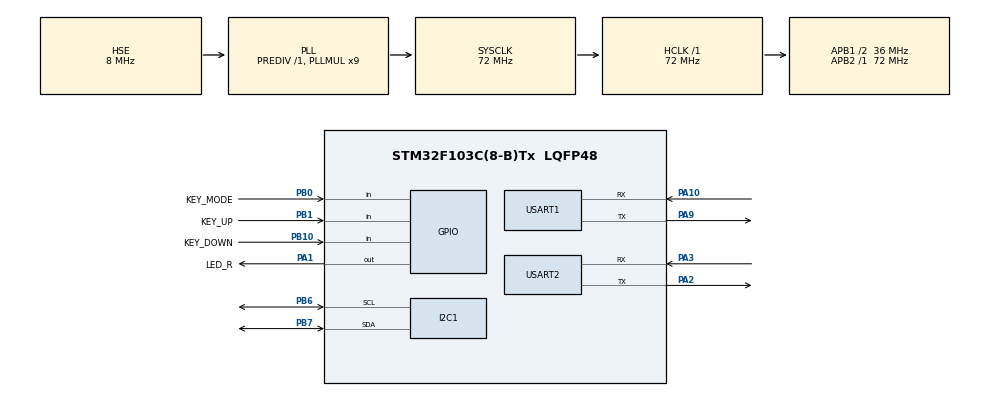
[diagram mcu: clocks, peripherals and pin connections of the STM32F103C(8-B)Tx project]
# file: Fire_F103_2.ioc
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FREERTOS.Tasks01=ledTask,0,256,StartLEDTask,Default,NULL,Dynamic,NULL,NULL;uartTask,-2,128,StartUartTask,Default,NULL,Dynamic,NULL,NULL;sensorTask,1,128,StartSensorTask,Default,NULL,Dynamic,NULL,NULL
IWDG.Prescaler=IWDG_PRESCALER_256
Mcu.Family=STM32F1
Mcu.Name=STM32F103C(8-B)Tx
Mcu.Package=LQFP48
NVIC.PriorityGroup=NVIC_PRIORITYGROUP_4
PA1.GPIO_Label=LED_R
PA1.PinState=GPIO_PIN_SET
PA1.Signal=GPIO_Output
PA10.Mode=Asynchronous
PA10.Signal=USART1_RX
PA13.Mode=Serial_Wire
PA13.Signal=SYS_JTMS-SWDIO
PA14.Mode=Serial_Wire
PA14.Signal=SYS_JTCK-SWCLK
PA2.Mode=Asynchronous
PA2.Signal=USART2_TX
PA3.Mode=Asynchronous
PA3.Signal=USART2_RX
PA9.Mode=Asynchronous
PA9.Signal=USART1_TX
PB0.GPIO_Label=KEY_MODE
PB0.GPIO_PuPd=GPIO_PULLUP
PB0.Signal=GPIO_Input
PB1.GPIO_Label=KEY_UP
PB1.GPIO_PuPd=GPIO_PULLUP
PB1.Signal=GPIO_Input
PB10.GPIO_Label=KEY_DOWN
PB10.GPIO_PuPd=GPIO_PULLUP
PB10.Signal=GPIO_Input
PB6.Mode=I2C
PB6.Signal=I2C1_SCL
PB7.Mode=I2C
PB7.Signal=I2C1_SDA
PC14-OSC32_IN.Mode=LSE-External-Oscillator
PC14-OSC32_IN.Signal=RCC_OSC32_IN
PC15-OSC32_OUT.Mode=LSE-External-Oscillator
PC15-OSC32_OUT.Signal=RCC_OSC32_OUT
PD0-OSC_IN.Mode=HSE-External-Oscillator
PD0-OSC_IN.Signal=RCC_OSC_IN
PD1-OSC_OUT.Mode=HSE-External-Oscillator
PD1-OSC_OUT.Signal=RCC_OSC_OUT
ProjectManager.HeapSize=0x200
ProjectManager.StackSize=0x400
ProjectManager.TargetToolchain=MDK-ARM V5.32
RCC.AHBFreq_Value=72000000
RCC.APB1CLKDivider=RCC_HCLK_DIV2
RCC.APB1Freq_Value=36000000
RCC.APB1TimFreq_Value=72000000
RCC.APB2Freq_Value=72000000
RCC.APB2TimFreq_Value=72000000
RCC.HCLKFreq_Value=72000000
RCC.PLLMUL=RCC_PLL_MUL9
RCC.PLLSourceVirtual=RCC_PLLSOURCE_HSE
RCC.SYSCLKFreq_VALUE=72000000
RCC.SYSCLKSource=RCC_SYSCLKSOURCE_PLLCLK
RCC.USBFreq_Value=72000000
USART1.VirtualMode=VM_ASYNC
USART2.VirtualMode=VM_ASYNC
VP_FREERTOS_VS_CMSIS_V1.Mode=CMSIS_V1
VP_IWDG_VS_IWDG.Mode=IWDG_Activate
board=custom

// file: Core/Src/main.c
/* USER CODE BEGIN Header */
/**
  ******************************************************************************
  * @file           : main.c
  * @brief          : Main program body
  ******************************************************************************
  * @attention
  *
  * Copyright (c) 2026 STMicroelectronics.
  * All rights reserved.
  *
  * This software is licensed under terms that can be found in the LICENSE file
  * in the root directory of this software component.
  * If no LICENSE file comes with this software, it is provided AS-IS.
  *
  ******************************************************************************
  */
/* USER CODE END Header */
#include "main.h"
#include "cmsis_os.h"
#include "i2c.h"
#include "iwdg.h"
#include "usart.h"
#include "gpio.h"

/* USER CODE BEGIN Includes */
#include "bsp_i2c_oled.h"
#include "bsp_dwt.h"
#include "bsp_dht11.h"
#include "bsp_flash_param.h"
#include <string.h>

/* USER CODE END Includes */

/* USER CODE BEGIN PV */
volatile uint8_t g_oled_ready = 0U;
AppConfig g_app_config;
/* USER CODE END PV */

void SystemClock_Config(void);
void MX_FREERTOS_Init(void);
/* USER CODE BEGIN PFP */
//static void Error_BlinkLoop(void);

/* USER CODE END PFP */

/* USER CODE BEGIN 0 */
static void Error_BlinkLoop(void)
{
//  GPIO_InitTypeDef GPIO_InitStruct = {0};

//  __HAL_RCC_GPIOA_CLK_ENABLE();
//  __HAL_RCC_GPIOC_CLK_ENABLE();

//  GPIO_InitStruct.Pin = LED_R_Pin | LED_G_Pin | LED_B_Pin;
//  GPIO_InitStruct.Mode = GPIO_MODE_OUTPUT_PP;
//  GPIO_InitStruct.Pull = GPIO_NOPULL;
//  GPIO_InitStruct.Speed = GPIO_SPEED_FREQ_LOW;
//  HAL_GPIO_Init(GPIOA, &GPIO_InitStruct);

//  GPIO_InitStruct.Pin = GPIO_PIN_13;
//  HAL_GPIO_Init(GPIOC, &GPIO_InitStruct);

  while (1)
  {
    HAL_GPIO_TogglePin(GPIOA, LED_R_Pin);
    HAL_GPIO_TogglePin(GPIOC, GPIO_PIN_13);
    for (volatile uint32_t delay = 0; delay < 250000U; delay++)
    {
      __NOP();
    }
	}
}

/* USER CODE END 0 */

int main(void)
{

  /* MCU Configuration--------------------------------------------------------*/

  /* Reset of all peripherals, Initializes the Flash interface and the Systick. */
  HAL_Init();

  /* Configure the system clock */
  SystemClock_Config();

  /* Initialize all configured peripherals */
  MX_GPIO_Init();
  MX_USART1_UART_Init();
  MX_I2C1_Init();
  MX_IWDG_Init();
  MX_USART2_UART_Init();
  /* USER CODE BEGIN 2 */
	DWT_Init();
  DHT11_GPIO_Config();
	if(AppConfig_Load(&g_app_config)==0)
	{
		char msg[]="CONFIG LOADED\r\n";
		HAL_UART_Transmit(&huart1,(uint8_t*)msg,strlen(msg),100);
	}
	else
	{
		AppConfig_SetDefault(&g_app_config);
		AppConfig_Save(&g_app_config);
		char msg[]="CONFIG DEFAULT SAVED\r\n";
		HAL_UART_Transmit(&huart1,(uint8_t*)msg,strlen(msg),100);
	}

  if (OLED_Init() == SUCCESS)
  {
    g_oled_ready = 1U;
    OLED_ShowString_F8X16(0,0, (uint8_t*)"DHT11");
    OLED_ShowString_F8X16(1,0, (uint8_t*)"WAIT DATA");
  }
  /* USER CODE END 2 */

  /* Call init function for freertos objects (in cmsis_os2.c) */
  MX_FREERTOS_Init();

  /* Start scheduler */
  osKernelStart();

  /* We should never get here as control is now taken by the scheduler */

  /* Infinite loop */
  while (1)
  {

  }
}

void SystemClock_Config(void)
{
  RCC_OscInitTypeDef RCC_OscInitStruct = {0};
  RCC_ClkInitTypeDef RCC_ClkInitStruct = {0};

  /** Initializes the RCC Oscillators according to the specified parameters
  * in the RCC_OscInitTypeDef structure.
  */
  RCC_OscInitStruct.OscillatorType = RCC_OSCILLATORTYPE_LSI|RCC_OSCILLATORTYPE_HSE;
  RCC_OscInitStruct.HSEState = RCC_HSE_ON;
  RCC_OscInitStruct.HSEPredivValue = RCC_HSE_PREDIV_DIV1;
  RCC_OscInitStruct.HSIState = RCC_HSI_ON;
  RCC_OscInitStruct.LSIState = RCC_LSI_ON;
  RCC_OscInitStruct.PLL.PLLState = RCC_PLL_ON;
  RCC_OscInitStruct.PLL.PLLSource = RCC_PLLSOURCE_HSE;
  RCC_OscInitStruct.PLL.PLLMUL = RCC_PLL_MUL9;
  if (HAL_RCC_OscConfig(&RCC_OscInitStruct) != HAL_OK)
  {
    Error_Handler();
  }

  /** Initializes the CPU, AHB and APB buses clocks
  */
  RCC_ClkInitStruct.ClockType = RCC_CLOCKTYPE_HCLK|RCC_CLOCKTYPE_SYSCLK
                              |RCC_CLOCKTYPE_PCLK1|RCC_CLOCKTYPE_PCLK2;
  RCC_ClkInitStruct.SYSCLKSource = RCC_SYSCLKSOURCE_PLLCLK;
  RCC_ClkInitStruct.AHBCLKDivider = RCC_SYSCLK_DIV1;
  RCC_ClkInitStruct.APB1CLKDivider = RCC_HCLK_DIV2;
  RCC_ClkInitStruct.APB2CLKDivider = RCC_HCLK_DIV1;

  if (HAL_RCC_ClockConfig(&RCC_ClkInitStruct, FLASH_LATENCY_2) != HAL_OK)
  {
    Error_Handler();
  }
}

void Error_Handler(void)
{
  /* USER CODE BEGIN Error_Handler_Debug */
  /* User can add his own implementation to report the HAL error return state */
  __disable_irq();
  Error_BlinkLoop();
  /* USER CODE END Error_Handler_Debug */
}

#ifdef  USE_FULL_ASSERT
/**
  * @brief  Reports the name of the source file and the source line number
  *         where the assert_param error has occurred.
  * @param  file: pointer to the source file name
  * @param  line: assert_param error line source number
  * @retval None
  */
void assert_failed(uint8_t *file, uint32_t line)
{
  /* USER CODE BEGIN 6 */
  (void)file;
  (void)line;
  /* USER CODE END 6 */
}
#endif /* USE_FULL_ASSERT */

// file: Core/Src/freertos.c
/* USER CODE BEGIN Header */
/**
  ******************************************************************************
  * File Name          : freertos.c
  * Description        : Code for freertos applications
  ******************************************************************************
  * @attention
  *
  * Copyright (c) 2026 STMicroelectronics.
  * All rights reserved.
  *
  * This software is licensed under terms that can be found in the LICENSE file
  * in the root directory of this software component.
  * If no LICENSE file comes with this software, it is provided AS-IS.
  *
  ******************************************************************************
  */
/* USER CODE END Header */

#include "FreeRTOS.h"
#include "task.h"
#include "main.h"
#include "cmsis_os.h"

/* USER CODE BEGIN Includes */
#include "queue.h"
#include "gpio.h"
#include "iwdg.h"
#include "usart.h"
#include "i2c.h"
#include "bsp_i2c_oled.h"
#include "semphr.h"
#include <string.h>
#include <stdio.h>
#include <stdint.h>
#include "bsp_dht11.h"
#include "bsp_flash_param.h"
#include "event_groups.h"
#include "bsp_esp8266.h"
#include "sensor_data.h"
/* USER CODE END Includes */

/* USER CODE BEGIN PTD */

typedef enum
{
	SET_TEMP_HIGH=0,
	SET_HUMI_LOW
}SettingItem;

typedef enum
{
    TASK_HEALTH_SENSOR = 0,
    TASK_HEALTH_DISPLAY,
    TASK_HEALTH_UART,
    TASK_HEALTH_COUNT
} TaskHealthId;

typedef struct
{
    TickType_t last_alive_tick;
    TickType_t deadline_ticks;
    BaseType_t seen;
} TaskHealth;
/* USER CODE END PTD */

/* USER CODE BEGIN PD */

#define EVT_DHT11_OK (1U<<3)
#define EVT_DHT11_ERR (1U<<4)
#define EVT_ALARM_ACTIVE (1U<<5)
#define EVT_CONFIG_SAVED (1U<<6)

#define EVT_WIFI_OK  (1U<<7)
#define EVT_WIFI_ERR  (1U<<8)

#define WIFI_SSID  "One"
#define WIFI_PASSWORD  "123456789"

/* USER CODE END PD */

/* USER CODE BEGIN Variables */
volatile SensorData g_sensor_data = {0};
QueueHandle_t g_sensor_msg_queue=NULL;
extern volatile uint8_t g_oled_ready;
//static StaticTask_t displayTaskControlBlock;
//static StackType_t displayTaskStack[256];
//static StaticTask_t uartTaskControlBlock;
//static StackType_t uartTaskStack[256];
//static StaticTask_t sensorTaskControlBlock;
//static StackType_t sensorTaskStack[256];
/* volatile uint32_t g_display_heartbeat=0;
volatile uint32_t g_uart_heartbeat=0; */
osThreadId watchdogTaskHandle;
osThreadId monitorTaskHandle;
osThreadId keyTaskHandle;
osThreadId wifiTaskHandle;

EventGroupHandle_t g_system_event_group=NULL;

SemaphoreHandle_t g_uart_mutex=NULL;
SemaphoreHandle_t g_oled_mutex=NULL;
SemaphoreHandle_t g_config_mutex=NULL;

static StaticTask_t wifiTaskControlBlock;
static StackType_t wifiTaskStack[384];
static StaticTask_t keyTaskControlBlock;
static StackType_t keyTaskStack[256];
static StaticTask_t monitorTaskControlBlock;
static StackType_t monitorTaskStack[256];
static StaticTask_t watchdogTaskControlBlock;
static StackType_t watchdogTaskStack[256];
extern AppConfig g_app_config;
volatile SettingItem g_setting_item=SET_TEMP_HIGH;
volatile uint8_t g_config_changed=0;

static TaskHealth g_task_health[TASK_HEALTH_COUNT] =
{
    {0U, pdMS_TO_TICKS(15000U), pdFALSE},
    {0U, pdMS_TO_TICKS(4000U),  pdFALSE},
    {0U, pdMS_TO_TICKS(15000U), pdFALSE}
};
/* USER CODE END Variables */
osThreadId ledTaskHandle;
osThreadId uartTaskHandle;
osThreadId sensorTaskHandle;

/* USER CODE BEGIN FunctionPrototypes */
static void Serial_SendText(const char *text);

void StartWatchdogTask(void const* argument);
static BaseType_t AppConfig_GetSnapshot(AppConfig *config);
void StartMonitorTask(void const*argument);
void StartKeyTask(void const*argument);
void  StartWiFiTask(void const*argument);

static void TaskHealth_Report(TaskHealthId id);

static uint32_t TaskHealth_CollectExpiredMask(
    TickType_t now_tick
);
/* USER CODE END FunctionPrototypes */

void StartLEDTask(void const * argument);
void StartUartTask(void const * argument);
void StartSensorTask(void const * argument);

void MX_FREERTOS_Init(void); /* (MISRA C 2004 rule 8.1) */

/* GetIdleTaskMemory prototype (linked to static allocation support) */
void vApplicationGetIdleTaskMemory( StaticTask_t **ppxIdleTaskTCBBuffer, StackType_t **ppxIdleTaskStackBuffer, uint32_t *pulIdleTaskStackSize );

/* USER CODE BEGIN GET_IDLE_TASK_MEMORY */
static StaticTask_t xIdleTaskTCBBuffer;
static StackType_t xIdleStack[configMINIMAL_STACK_SIZE];

void vApplicationGetIdleTaskMemory( StaticTask_t **ppxIdleTaskTCBBuffer, StackType_t **ppxIdleTaskStackBuffer, uint32_t *pulIdleTaskStackSize )
{
  *ppxIdleTaskTCBBuffer = &xIdleTaskTCBBuffer;
  *ppxIdleTaskStackBuffer = &xIdleStack[0];
  *pulIdleTaskStackSize = configMINIMAL_STACK_SIZE;
}

static void Serial_SendText(const char *text)
{
  if (text == NULL)
  {
    return;
  }
	if(g_uart_mutex!=NULL)
	{
		if(xSemaphoreTake(g_uart_mutex,pdMS_TO_TICKS(200))==pdPASS)
		{
			HAL_UART_Transmit(&huart1, (uint8_t *)text, (uint16_t)strlen(text), 100);
			xSemaphoreGive(g_uart_mutex);
		}
	}
	else
	{
				HAL_UART_Transmit(&huart1, (uint8_t *)text, (uint16_t)strlen(text), 100);
	}
}

static BaseType_t AppConfig_GetSnapshot(AppConfig *config)
{
    if ((config == NULL) || (g_config_mutex == NULL))
    {
        return pdFAIL;
    }

    if (xSemaphoreTake(g_config_mutex, pdMS_TO_TICKS(200U)) != pdPASS)
    {
        return pdFAIL;
    }

    *config = g_app_config;

    xSemaphoreGive(g_config_mutex);
    return pdPASS;
}

/* USER CODE END GET_IDLE_TASK_MEMORY */

void MX_FREERTOS_Init(void) {
  /* USER CODE BEGIN Init */
	g_sensor_msg_queue = xQueueCreate(1U, sizeof(SensorData));
	if(g_sensor_msg_queue==NULL)
	{
		Error_Handler();

	}
	g_uart_mutex=xSemaphoreCreateMutex();
	if(g_uart_mutex==NULL)
	{
		Error_Handler();
	}
	g_oled_mutex=xSemaphoreCreateMutex();
	if(g_oled_mutex==NULL)
	{
		Error_Handler();
	}
	g_config_mutex=xSemaphoreCreateMutex();
	if(g_config_mutex==NULL)
	{
		Error_Handler();
	}
	g_system_event_group=xEventGroupCreate();
	if(g_system_event_group==NULL)
	{
		Error_Handler();
	}
  /* USER CODE END Init */

  /* Create the thread(s) */
  /* definition and creation of ledTask */
  osThreadDef(ledTask, StartLEDTask, osPriorityNormal, 0, 256);
  ledTaskHandle = osThreadCreate(osThread(ledTask), NULL);

  /* definition and creation of uartTask */
  osThreadDef(uartTask, StartUartTask, osPriorityLow, 0, 128);
  uartTaskHandle = osThreadCreate(osThread(uartTask), NULL);

  /* definition and creation of sensorTask */
  osThreadDef(sensorTask, StartSensorTask, osPriorityAboveNormal, 0, 128);
  sensorTaskHandle = osThreadCreate(osThread(sensorTask), NULL);

  /* USER CODE BEGIN RTOS_THREADS */
	osThreadStaticDef(watchdogTask,StartWatchdogTask,osPriorityLow,0,256,watchdogTaskStack,&watchdogTaskControlBlock);
	watchdogTaskHandle=osThreadCreate(osThread(watchdogTask),NULL);
	if(watchdogTaskHandle==NULL)
	{
		Error_Handler();

	}
	osThreadStaticDef(keyTask,StartKeyTask,osPriorityNormal,0,256,keyTaskStack,&keyTaskControlBlock);
	keyTaskHandle=osThreadCreate(osThread(keyTask),NULL);
	if(keyTaskHandle==NULL)
	{
		Error_Handler();

	}
	osThreadStaticDef(monitorTask,StartMonitorTask,osPriorityLow,0,256,monitorTaskStack,&monitorTaskControlBlock);
	monitorTaskHandle=osThreadCreate(osThread(monitorTask),NULL);
	if(monitorTaskHandle==NULL)
	{
		Error_Handler();

	}
	osThreadStaticDef(wifiTask,StartWiFiTask,osPriorityLow,0,384,wifiTaskStack,&wifiTaskControlBlock);
	wifiTaskHandle=osThreadCreate(osThread(wifiTask),NULL);
	if(wifiTaskHandle==NULL)
	{
		Error_Handler();

	}

  /* add threads, ... */
  /* USER CODE END RTOS_THREADS */

}

void StartLEDTask(void const * argument)
{
  /* USER CODE BEGIN StartLEDTask */
	 char temp_buf[20];
  char humi_buf[20];
  char cnt_buf[20];
  char err_buf[20];
	char alarm_buf[20];
  SensorData sensor_snapshot;
  (void)argument;																			//�������argument������ûʹ��
  /* Infinite loop */
  for(;;)
    {
       taskENTER_CRITICAL();
      sensor_snapshot = g_sensor_data;
      taskEXIT_CRITICAL();

//        HAL_GPIO_TogglePin(GPIOA, LED_R_Pin);
//        HAL_GPIO_TogglePin(GPIOC, GPIO_PIN_13);

        if (g_oled_ready)
        {
						if(xSemaphoreTake(g_oled_mutex,pdMS_TO_TICKS(200))==pdPASS)
						{
							OLED_CLS();																				//����
            if (sensor_snapshot.ready == 0U)
            {
                OLED_ShowString_F8X16(0, 0, (uint8_t *)"DHT11");
                OLED_ShowString_F8X16(1, 0, (uint8_t *)"WAIT DATA");
            }
            else if (sensor_snapshot.valid)
            {
                sprintf(temp_buf, "TEMP:%d.%dC",
                        sensor_snapshot.temp_int,
                        sensor_snapshot.temp_dec);
                sprintf(humi_buf, "HUMI:%d.%d%%",
                        sensor_snapshot.humi_int,
                        sensor_snapshot.humi_dec);
							sprintf(cnt_buf,"CNT:%lu",
												sensor_snapshot.update_count);
							sprintf(err_buf,"ERR:%lu",
												sensor_snapshot.error_count);
						switch(sensor_snapshot.alarm_state)
						{
							case ALARM_NONE:
							sprintf(alarm_buf,"NORMAL");
							break;

							case ALARM_TEMP_HIGH:
							sprintf(alarm_buf,"TEMP HIGH");
							break;

							case ALARM_HUMI_LOW:
							sprintf(alarm_buf,"HUMI LOW");
							break;

							case ALARM_BOTH:
							sprintf(alarm_buf,"ALARM_BOTH");
							break;

							default:
							sprintf(alarm_buf,"UNKNOWN");
							break;
						}

                OLED_ShowString_F8X16(0, 0, (uint8_t *)"DHT11");
                OLED_ShowString_F8X16(1, 0, (uint8_t *)temp_buf);
                OLED_ShowString_F8X16(2, 0, (uint8_t *)humi_buf);
								OLED_ShowString_F8X16(3,0,(uint8_t*)alarm_buf);
            }

            else
            {
								sprintf(err_buf,"ERR:%lu",sensor_snapshot.error_count);
                OLED_ShowString_F8X16(0, 0, (uint8_t *)"DHT11");
                OLED_ShowString_F8X16(1, 0, (uint8_t *)"READ ERROR");
								OLED_ShowString_F8X16(3,0,(uint8_t*)err_buf);
            }
								xSemaphoreGive(g_oled_mutex);
        }
        else
        {
            HAL_GPIO_TogglePin(GPIOA, LED_R_Pin);
        }
			}

		TaskHealth_Report(TASK_HEALTH_DISPLAY);
        osDelay(1000U);
    }
  /* USER CODE END StartLEDTask */
}

void StartUartTask(void const * argument)
{
  /* USER CODE BEGIN StartUartTask */
	  char uart_buf[128];
  SensorData msg;
  SensorData_Init(&msg);
  (void)argument;
	AppConfig config_snapshot;

  /* Infinite loop */

    for(;;)
    {

			  if(xQueueReceive(g_sensor_msg_queue,&msg,portMAX_DELAY)==pdPASS)
				{
						if (AppConfig_GetSnapshot(&config_snapshot) != pdPASS)
          {
             Serial_SendText("CONFIG SNAPSHOT ERROR\r\n");
              continue;
          }
						HAL_GPIO_TogglePin(GPIOA, LED_R_Pin);
//						HAL_GPIO_TogglePin(GPIOC, GPIO_PIN_13);

        if (msg.valid)
        {

					sprintf(uart_buf, "DHT11 TEMP:%d.%dC HUMI:%d.%d%% CNT:%lu ERR:%lu ALARM:%s TH:%d HL:%d\r\n",
              msg.temp_int,
              msg.temp_dec,
              msg.humi_int,
              msg.humi_dec,
							msg.update_count,
							msg.error_count,
						 SensorData_AlarmToString(msg.alarm_state),
							config_snapshot.temp_alarm_high,
							config_snapshot.humi_alarm_low);
				}
       else
       {
							sprintf(uart_buf, "DHT11 READ ERROR  CNT:%lu ERR:%lu \r\n",
							msg.update_count,
							msg.error_count);
       }
            Serial_SendText(uart_buf);
        TaskHealth_Report(TASK_HEALTH_UART);
       }

    }

  /* USER CODE END StartUartTask */
}

void StartSensorTask(void const * argument)
{
  /* USER CODE BEGIN StartSensorTask */
DHT11_DATA_TYPEDEF dht11_data;
SensorData msg;
AppConfig config_snapshot;
uint8_t dht11_ok = 0U;

SensorData_Init(&msg);

  (void)argument;
  osDelay(1000);															//�ȶ�

  /* Infinite loop */
  for(;;)
  {
				if (AppConfig_GetSnapshot(&config_snapshot) != pdPASS)
        {
            Serial_SendText("CONFIG SNAPSHOT ERROR\r\n");
            osDelay(100U);
             continue;
        }
       if (DHT11_ReadData(&dht11_data) == HAL_OK)
      {
      dht11_ok = 1U;

      taskENTER_CRITICAL();

    g_sensor_data.temp_int = dht11_data.temp_int;
    g_sensor_data.temp_dec = dht11_data.temp_deci;
    g_sensor_data.humi_int = dht11_data.humi_int;
    g_sensor_data.humi_dec = dht11_data.humi_deci;
    g_sensor_data.ready = 1U;
    g_sensor_data.valid = 1U;
    g_sensor_data.update_count++;

    g_sensor_data.alarm_state = SensorData_CheckAlarm(
        g_sensor_data.temp_int,
        g_sensor_data.humi_int,
        config_snapshot.temp_alarm_high,
        config_snapshot.humi_alarm_low
    );

    msg = g_sensor_data;

    taskEXIT_CRITICAL();
}
else
{
    dht11_ok = 0U;

    taskENTER_CRITICAL();

    g_sensor_data.ready = 1U;
    g_sensor_data.valid = 0U;
    g_sensor_data.error_count++;
    g_sensor_data.alarm_state = ALARM_NONE;

    msg = g_sensor_data;

    taskEXIT_CRITICAL();
}
				if (g_system_event_group != NULL)
				{

						if (dht11_ok)
						{
								xEventGroupSetBits(g_system_event_group, EVT_DHT11_OK);
								xEventGroupClearBits(g_system_event_group, EVT_DHT11_ERR);
						}
						else
						{
								xEventGroupSetBits(g_system_event_group, EVT_DHT11_ERR);
								xEventGroupClearBits(g_system_event_group, EVT_DHT11_OK);
						}

						if (msg.alarm_state != ALARM_NONE)
						{
								xEventGroupSetBits(g_system_event_group, EVT_ALARM_ACTIVE);
						}
						else
						{
								xEventGroupClearBits(g_system_event_group, EVT_ALARM_ACTIVE);
						}
				}
				xQueueOverwrite(g_sensor_msg_queue,&msg);
                TaskHealth_Report(TASK_HEALTH_SENSOR);
        uint16_t period=config_snapshot.sample_period_ms;

				if(period<1000||period>10000)
				{
						period=2000;
				}
				osDelay(period);
  }
  /* USER CODE END StartSensorTask */
}

/* USER CODE BEGIN Application */

#define KEY_DEBOUNCE_MS 20U

typedef struct
{
    GPIO_TypeDef *port;
    uint16_t pin;

    GPIO_PinState raw_state;
    GPIO_PinState stable_state;
    TickType_t change_tick;
} KeyDebounce;

static void KeyDebounce_Init(KeyDebounce *key,
                             GPIO_TypeDef *port,
                             uint16_t pin)
{
    GPIO_PinState current_state;

    current_state = HAL_GPIO_ReadPin(port, pin);

    key->port = port;
    key->pin = pin;
    key->raw_state = current_state;
    key->stable_state = current_state;
    key->change_tick = xTaskGetTickCount();
}

static uint8_t KeyDebounce_Poll(KeyDebounce *key)
{
    GPIO_PinState current_state;
    TickType_t current_tick;

    current_state = HAL_GPIO_ReadPin(key->port, key->pin);
    current_tick = xTaskGetTickCount();

    if (current_state != key->raw_state)
    {
        key->raw_state = current_state;
        key->change_tick = current_tick;
    }

    if ((current_state != key->stable_state) &&
        ((current_tick - key->change_tick) >=
         pdMS_TO_TICKS(KEY_DEBOUNCE_MS)))
    {
        key->stable_state = current_state;

        if (current_state == GPIO_PIN_RESET)
        {
            return 1U;
        }
    }

    return 0U;
}

static void TaskHealth_Report(TaskHealthId id)
{
    TickType_t now_tick;

    if ((uint32_t)id >=
        (uint32_t)TASK_HEALTH_COUNT)
    {
        return;
    }

    now_tick = xTaskGetTickCount();

    taskENTER_CRITICAL();

    g_task_health[id].last_alive_tick =
        now_tick;

    g_task_health[id].seen = pdTRUE;

    taskEXIT_CRITICAL();
}

static uint32_t TaskHealth_CollectExpiredMask(
    TickType_t now_tick)
{
    TaskHealth snapshot[TASK_HEALTH_COUNT];
    uint32_t mask = 0U;

    /*
     * 临界区内只复制数据，
     * 超时计算放在临界区外完成。
     */
    taskENTER_CRITICAL();

    memcpy(
        snapshot,
        g_task_health,
        sizeof(snapshot)
    );

    taskEXIT_CRITICAL();

    for (uint32_t index = 0U;
         index < (uint32_t)TASK_HEALTH_COUNT;
         ++index)
    {
        TickType_t elapsed =
            now_tick -
            snapshot[index].last_alive_tick;

        if ((snapshot[index].seen == pdFALSE) ||
            (elapsed >
             snapshot[index].deadline_ticks))
        {
            mask |= (1UL << index);
        }
    }

    return mask;
}
void StartWatchdogTask(void const *argument)
{
    uint32_t expired_mask;

    (void)argument;

    /*
     * 给三个被监控任务启动时间。
     */
    osDelay(3000U);

    for (;;)
    {
        expired_mask =
            TaskHealth_CollectExpiredMask(
                xTaskGetTickCount()
            );

        if (expired_mask == 0U)
        {
            (void)HAL_IWDG_Refresh(&hiwdg);
        }

        /*
         * 存在超时任务时停止喂狗，
         * 等待硬件看门狗复位。
         */
        osDelay(3000U);
    }
}
void StartKeyTask(void const * argument)
{
    (void)argument;
KeyDebounce mode_key;
KeyDebounce up_key;
KeyDebounce down_key;

KeyDebounce_Init(&mode_key,
                 KEY_MODE_GPIO_Port,
                 KEY_MODE_Pin);

KeyDebounce_Init(&up_key,
                 KEY_UP_GPIO_Port,
                 KEY_UP_Pin);

KeyDebounce_Init(&down_key,
                 KEY_DOWN_GPIO_Port,
                 KEY_DOWN_Pin);
    for (;;)
    {
        if (KeyDebounce_Poll(&mode_key))
        {
            if (g_setting_item == SET_TEMP_HIGH)
            {
                g_setting_item = SET_HUMI_LOW;
            }
            else
            {
                g_setting_item = SET_TEMP_HIGH;
            }

            Serial_SendText("KEY MODE\r\n");
        }

        if (KeyDebounce_Poll(&up_key))
        {
					if(xSemaphoreTake(g_config_mutex,pdMS_TO_TICKS(500))==pdPASS)
					{
            if (g_setting_item == SET_TEMP_HIGH)
            {
                g_app_config.temp_alarm_high++;
            }
            else
            {
                g_app_config.humi_alarm_low++;
            }
						g_config_changed=1;
            xSemaphoreGive(g_config_mutex);
          }
						 Serial_SendText("KEY UP\r\n");
        }

        if (KeyDebounce_Poll(&down_key))
        {
					if(xSemaphoreTake(g_config_mutex,pdMS_TO_TICKS(500))==pdPASS)
					{
            if (g_setting_item == SET_TEMP_HIGH)
            {
                if (g_app_config.temp_alarm_high > 0)
                {
                    g_app_config.temp_alarm_high--;
                }
            }
            else
            {
                if (g_app_config.humi_alarm_low > 0)
                {
                    g_app_config.humi_alarm_low--;
                }
            }

            g_config_changed = 1;
						xSemaphoreGive(g_config_mutex);
					}
            Serial_SendText("KEY DOWN\r\n");
        }
				if(g_config_changed)
				{
					AppConfig config_to_save;

					if (xSemaphoreTake(g_config_mutex,pdMS_TO_TICKS(500))==pdPASS)
					{
						config_to_save=g_app_config;
						g_config_changed=0;
						xSemaphoreGive(g_config_mutex);
            if (AppConfig_Save(&config_to_save) == 0)
            {
                Serial_SendText("CONFIG SAVED\r\n");
									if(g_system_event_group!=NULL)
						{
						xEventGroupSetBits(g_system_event_group,EVT_CONFIG_SAVED);

						}
            }
            else
            {
                Serial_SendText("CONFIG SAVE ERROR\r\n");
            }
					}
				}
        osDelay(10);
    }
}

void vApplicationMallocFailedHook(void)
{
  vAssertCalled("malloc", 0);
}

void vApplicationStackOverflowHook(TaskHandle_t xTask, char *pcTaskName)
{
  (void)xTask;
  (void)pcTaskName;
  vAssertCalled("stack", 0);
}

void vAssertCalled(const char *file, int line)
{
  (void)file;
  (void)line;
  taskDISABLE_INTERRUPTS();

  while (1)
  {
    HAL_GPIO_TogglePin(GPIOA, LED_R_Pin );
    HAL_GPIO_TogglePin(GPIOC, GPIO_PIN_13);
    for (volatile uint32_t delay = 0; delay < 250000U; delay++)
    {
      __NOP();
    }
  }
}
void StartMonitorTask(void const *argument)
{
    EventBits_t now_bits;
    EventBits_t previous_status_bits = 0U;
    EventBits_t changed_bits;

    uint32_t expired_mask;
    uint32_t previous_expired_mask =
        UINT32_MAX;

    const EventBits_t tracked_status_bits =
        EVT_DHT11_OK |
        EVT_DHT11_ERR |
        EVT_WIFI_OK |
        EVT_WIFI_ERR |
        EVT_ALARM_ACTIVE;

    (void)argument;

    osDelay(3000U);

    for (;;)
    {
        /*
         * 一、检查任务存活状态
         */
        expired_mask =
            TaskHealth_CollectExpiredMask(
                xTaskGetTickCount()
            );

        /*
         * 只在状态变化时打印，
         * 避免每秒重复刷屏。
         */
        if (expired_mask !=
            previous_expired_mask)
        {
            if (expired_mask == 0U)
            {
                Serial_SendText(
                    "SYS TASKS OK\r\n"
                );
            }
            else
            {
                if ((expired_mask &
                     (1UL <<
                      TASK_HEALTH_SENSOR)) != 0U)
                {
                    Serial_SendText(
                        "SYS SENSOR TASK TIMEOUT\r\n"
                    );
                }

                if ((expired_mask &
                     (1UL <<
                      TASK_HEALTH_DISPLAY)) != 0U)
                {
                    Serial_SendText(
                        "SYS DISPLAY TASK TIMEOUT\r\n"
                    );
                }

                if ((expired_mask &
                     (1UL <<
                      TASK_HEALTH_UART)) != 0U)
                {
                    Serial_SendText(
                        "SYS UART TASK TIMEOUT\r\n"
                    );
                }
            }

            previous_expired_mask =
                expired_mask;
        }

        /*
         * 二、读取业务状态
         */
        now_bits =
            xEventGroupGetBits(
                g_system_event_group
            );

        /*
         * XOR得到发生变化的位。
         */
        changed_bits =
            (now_bits ^
             previous_status_bits) &
            tracked_status_bits;

        if (((changed_bits &
              EVT_DHT11_OK) != 0U) &&
            ((now_bits &
              EVT_DHT11_OK) != 0U))
        {
            Serial_SendText(
                "SYS DHT11 DATA OK\r\n"
            );
        }

        if (((changed_bits &
              EVT_DHT11_ERR) != 0U) &&
            ((now_bits &
              EVT_DHT11_ERR) != 0U))
        {
            Serial_SendText(
                "SYS DHT11 DATA ERROR\r\n"
            );
        }

        if (((changed_bits &
              EVT_WIFI_OK) != 0U) &&
            ((now_bits &
              EVT_WIFI_OK) != 0U))
        {
            Serial_SendText(
                "SYS WIFI OK\r\n"
            );
        }

        if (((changed_bits &
              EVT_WIFI_ERR) != 0U) &&
            ((now_bits &
              EVT_WIFI_ERR) != 0U))
        {
            Serial_SendText(
                "SYS WIFI ERROR\r\n"
            );
        }

        if ((changed_bits &
             EVT_ALARM_ACTIVE) != 0U)
        {
            if ((now_bits &
                 EVT_ALARM_ACTIVE) != 0U)
            {
                Serial_SendText(
                    "SYS ALARM ACTIVE\r\n"
                );
            }
            else
            {
                Serial_SendText(
                    "SYS ALARM CLEARED\r\n"
                );
            }
        }

        /*
         * CONFIG_SAVED是一次性事件。
         */
        if ((now_bits &
             EVT_CONFIG_SAVED) != 0U)
        {
            Serial_SendText(
                "SYS CONFIG SAVED\r\n"
            );

            xEventGroupClearBits(
                g_system_event_group,
                EVT_CONFIG_SAVED
            );
        }

        previous_status_bits =
            now_bits &
            tracked_status_bits;

        osDelay(1000U);
    }
}
void StartWiFiTask(void const *argument)
{
    char buf[64];
    uint8_t ret;

    (void)argument;
    osDelay(5000);

    Serial_SendText("ESP8266 TASK START\r\n");

    /* 1. ESP8266 基础初始化 */
    ret = ESP8266_BasicInit();

    if (ret != 0U)
    {
        Serial_SendText("ESP8266 AT ERROR\r\n");

        if (g_system_event_group != NULL)
        {
            xEventGroupClearBits(g_system_event_group, EVT_WIFI_OK);
            xEventGroupSetBits(g_system_event_group, EVT_WIFI_ERR);
        }

        for (;;)
        {
            osDelay(10000);
        }
    }

    Serial_SendText("ESP8266 AT OK\r\n");

    /* 2. 连接 WiFi */
    ret = ESP8266_ConnectWiFi(WIFI_SSID, WIFI_PASSWORD);

    if (ret != 0U)
    {
        Serial_SendText("ESP8266 WIFI CONNECT FAIL\r\n");

        if (g_system_event_group != NULL)
        {
            xEventGroupClearBits(g_system_event_group, EVT_WIFI_OK);
            xEventGroupSetBits(g_system_event_group, EVT_WIFI_ERR);
        }

        for (;;)
        {
            osDelay(10000);
        }
    }

    Serial_SendText("ESP8266 WIFI CONNECT OK\r\n");

    if (g_system_event_group != NULL)
    {
        xEventGroupClearBits(g_system_event_group, EVT_WIFI_ERR);
        xEventGroupSetBits(g_system_event_group, EVT_WIFI_OK);
    }

    /* 3. 连接 TCP 服务器 */
    if (ESP8266_TCPConnect("192.168.1.100", 12345) != 0U)
    {
        Serial_SendText("TCP CONNECT FAIL\r\n");

        /*
         * TCP 失败不代表 WiFi 已断开，
         * 因此这里不设置 EVT_WIFI_ERR。
         */
        for (;;)
        {
            osDelay(10000);
        }
    }

    Serial_SendText("TCP CONNECT OK\r\n");

    /* 4. 周期上传传感器数据 */
    for (;;)
    {
        SensorData snapshot;

        taskENTER_CRITICAL();
        snapshot = g_sensor_data;
        taskEXIT_CRITICAL();

        if (snapshot.valid != 0U)
        {
            int len = snprintf(
                buf,
                sizeof(buf),
                "TEMP=%d.%d,HUMI=%d.%d\r\n",
                snapshot.temp_int,
                snapshot.temp_dec,
                snapshot.humi_int,
                snapshot.humi_dec
            );

            if ((len > 0) && (len < (int)sizeof(buf)))
            {
                if (ESP8266_TCPSend(
                        (uint8_t *)buf,
                        (uint16_t)len
                    ) == 0U)
                {
                    Serial_SendText("TCP SEND OK\r\n");
                }
                else
                {
                    Serial_SendText("TCP SEND FAIL\r\n");
                }
            }
            else
            {
                Serial_SendText("TCP FORMAT ERROR\r\n");
            }
        }

        osDelay(5000);
    }
}

/* USER CODE END Application */
